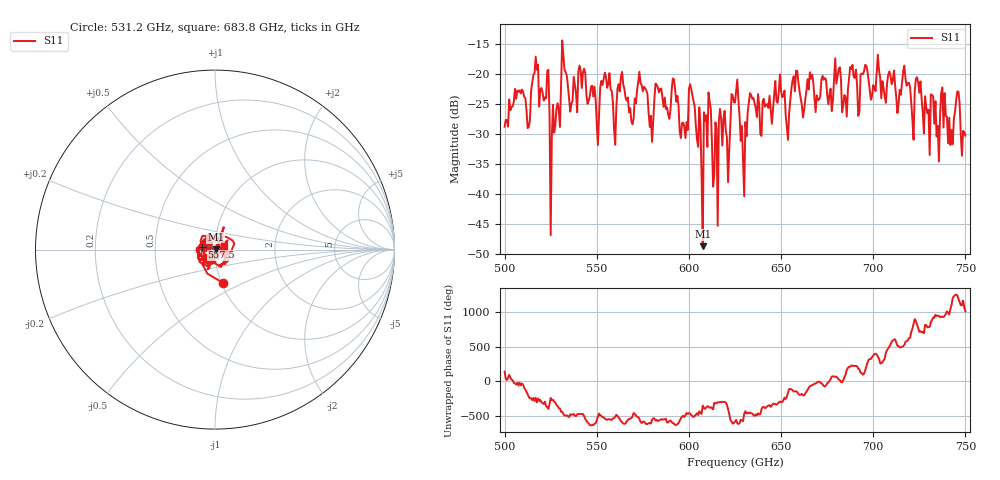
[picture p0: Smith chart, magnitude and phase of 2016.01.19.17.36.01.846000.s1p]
!Created with skrf (http://scikit-rf.org).
# GHz S RI R 50.0
!freq ReS11 ImS11
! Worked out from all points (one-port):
!   401 points, 500 GHz to 750 GHz, reference 50 ohm
!   lowest |S11| = -48.7 dB at 607.5 GHz (marker M1), VSWR 1.01, Z = 50.4 + j0.0706 ohm
!   |S11| at or under -10 dB: start of sweep to end of sweep
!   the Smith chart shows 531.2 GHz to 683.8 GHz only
!   S11 on the Smith chart (normalised r, x): 531.2 GHz: 1.01, -0.39; 557.5 GHz: 0.86, +0.03; 683.8 GHz: 1.11, +0.04
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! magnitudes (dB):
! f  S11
! 500 GHz  -28.8
! 513.1 GHz  -28.9
! 516.9 GHz  -17.2
! 523.1 GHz  -19.5
! 526.2 GHz  -25.2
! 531.2 GHz  -14.5
! 557.5 GHz  -22.6
! 562.5 GHz  -22.9
! 568.8 GHz  -27.8
! 573.1 GHz  -19.7
! 579.4 GHz  -27.0
! 593.8 GHz  -23.7
! 598.1 GHz  -30.7
! 601.2 GHz  -22.5
! 607.5 GHz  -48.7
! 610.6 GHz  -23.1
! 614.4 GHz  -28.1
! 617.5 GHz  -27.6
! 621.2 GHz  -38.1
! 625 GHz  -24.8
! 629.4 GHz  -34.3
! 633.8 GHz  -23.5
! 653.8 GHz  -31.0
! 656.2 GHz  -21.1
! 683.8 GHz  -25.2
! 687.5 GHz  -18.9
! 718.8 GHz  -21.6
! 750 GHz  -30.3
